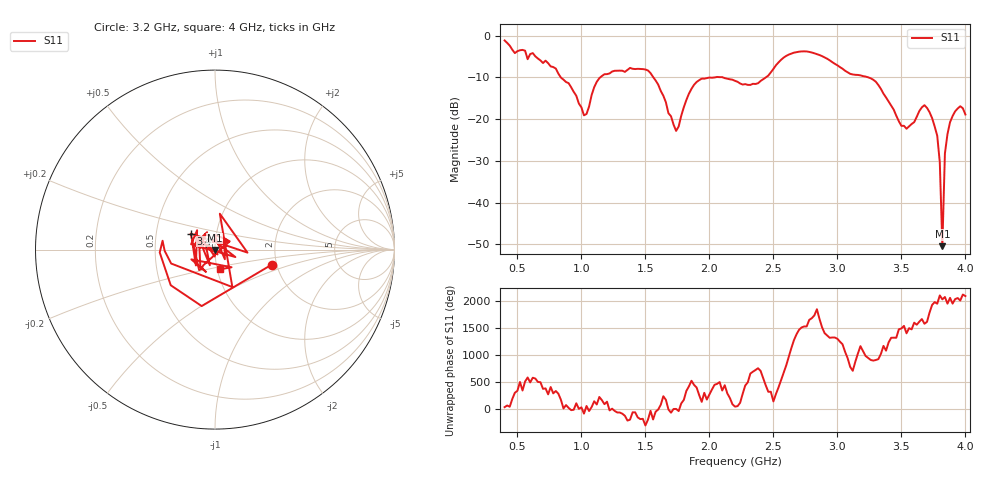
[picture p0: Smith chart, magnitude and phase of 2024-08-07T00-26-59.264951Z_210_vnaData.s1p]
!Created with skrf (http://scikit-rf.org).
# Hz S RI R 50.0
!freq ReS11 ImS11
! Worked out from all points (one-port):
!   181 points, 400 MHz to 4 GHz, reference 50 ohm
!   lowest |S11| = -50.4 dB at 3.82 GHz (marker M1), VSWR 1.01, Z = 49.8 - j0.206 ohm
!   |S11| at or under -10 dB: 1.562 GHz to 2.044 GHz (481.6 MHz wide, 26.7 % of centre); 2.105 GHz to 2.441 GHz (336.8 MHz wide, 14.8 % of centre); 3.241 GHz to end of sweep (the widest 3 of 4)
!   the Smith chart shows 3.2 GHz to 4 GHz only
!   S11 on the Smith chart (normalised r, x): 3.2 GHz: 1.88, -0.35; 3.4 GHz: 0.75, +0.14; 4 GHz: 1.03, -0.23
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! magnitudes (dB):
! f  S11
! 400 MHz  -1.2
! 860 MHz  -10.6
! 1.02 GHz  -19.1
! 1.14 GHz  -10.2
! 1.3 GHz  -8.4
! 1.52 GHz  -8.3
! 1.6 GHz  -11.7
! 1.74 GHz  -22.8
! 1.76 GHz  -21.8
! 1.82 GHz  -15.4
! 1.9 GHz  -11.1
! 2.2 GHz  -10.8
! 2.38 GHz  -11.4
! 2.66 GHz  -4.1
! 3.1 GHz  -9.2
! 3.2 GHz  -9.7
! 3.4 GHz  -15.8
! 3.5 GHz  -21.6
! 3.56 GHz  -21.7
! 3.68 GHz  -16.7
! 3.76 GHz  -21.8
! 3.78 GHz  -24.0
! 3.8 GHz  -30.3
! 3.82 GHz  -50.4
! 3.84 GHz  -28.2
! 3.86 GHz  -23.6
! 3.94 GHz  -17.5
! 4 GHz  -18.9
